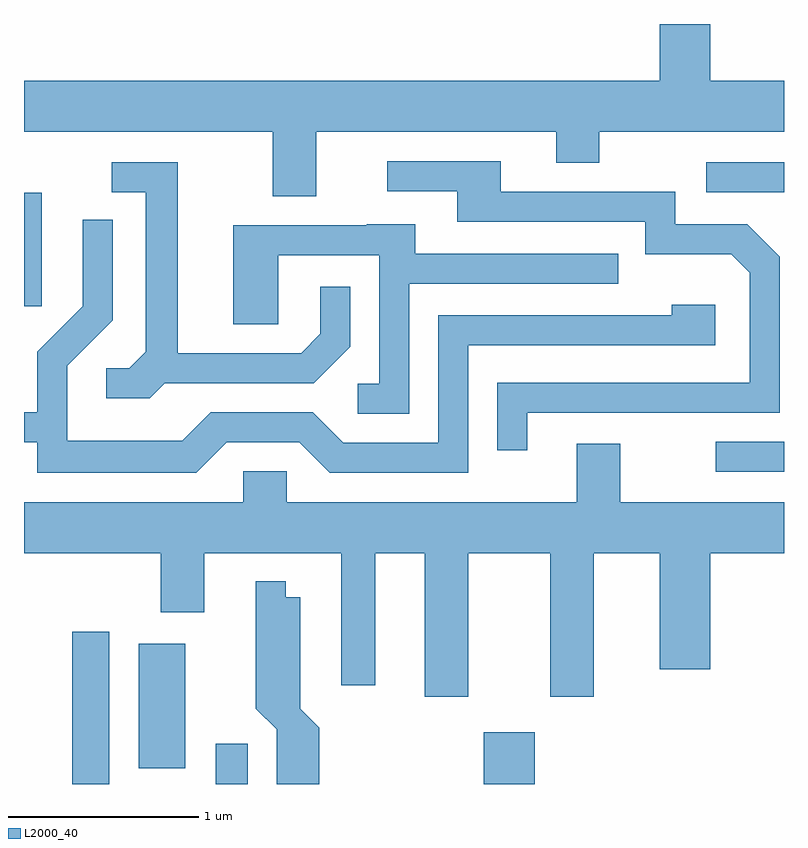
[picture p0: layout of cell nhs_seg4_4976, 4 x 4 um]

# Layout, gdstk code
import gdstk
lib = gdstk.Library(unit=1e-6, precision=1e-09)
def R(c, l, rs):  # rectangles x0, y0, x1, y1
    for r in rs: c.add(gdstk.rectangle(r[:2], r[2:], *l))
def P(c, l, *ps):  # polygons
    for p in ps: c.add(gdstk.Polygon(p, *l))
L2000_40 = (2000, 40)

nhs_seg4_4976 = lib.new_cell('nhs_seg4_4976')
R(nhs_seg4_4976, L2000_40, [(331.866,1277.982,332.059,1278.784), (332.621,1277.982,332.789,1278.193), (334.031,1277.982,334.299,1278.254), (332.216,1278.066,332.459,1278.719), (335.253,1279.626,335.611,1279.784), (331.611,1280.496,331.704,1281.094), (335.203,1281.096,335.611,1281.254)])
P(nhs_seg4_4976, L2000_40, [(333.149,1281.416),(334.411,1281.416),(334.411,1281.251),(334.639,1281.251),(334.639,1281.416),(335.611,1281.416),(335.611,1281.684),(335.224,1281.684),(335.224,1281.982),(334.956,1281.982),(334.956,1281.684),(331.611,1281.684),(331.611,1281.416),(332.921,1281.416),(332.921,1281.076),(333.149,1281.076)],
  [(334.259,1279.936),(335.589,1279.936),(335.589,1280.757),(335.417,1280.929),(335.039,1280.929),(335.039,1281.099),(334.119,1281.099),(334.119,1281.259),(333.523,1281.259),(333.523,1281.101),(333.891,1281.101),(333.891,1280.941),(334.881,1280.941),(334.881,1280.771),(335.334,1280.771),(335.431,1280.674),(335.431,1280.094),(334.101,1280.094),(334.101,1279.738),(334.259,1279.738)],
  [(332.352,1280.091),(333.137,1280.091),(333.329,1280.284),(333.329,1280.598),(333.171,1280.598),(333.171,1280.352),(333.069,1280.249),(332.419,1280.249),(332.419,1281.254),(332.073,1281.254),(332.073,1281.096),(332.251,1281.096),(332.251,1280.257),(332.164,1280.169),(332.043,1280.169),(332.043,1280.011),(332.272,1280.011)],
  [(332.677,1279.781),(333.059,1279.781),(333.219,1279.621),(333.949,1279.621),(333.949,1280.291),(335.249,1280.291),(335.249,1280.504),(335.021,1280.504),(335.021,1280.449),(333.791,1280.449),(333.791,1279.779),(333.292,1279.779),(333.132,1279.939),(332.594,1279.939),(332.444,1279.789),(331.839,1279.789),(331.839,1280.184),(332.079,1280.424),(332.079,1280.953),(331.921,1280.953),(331.921,1280.497),(331.681,1280.257),(331.681,1279.939),(331.611,1279.939),(331.611,1279.781),(331.681,1279.781),(331.681,1279.621),(332.517,1279.621)],
  [(333.639,1280.616),(334.738,1280.616),(334.738,1280.774),(333.669,1280.774),(333.669,1280.929),(333.415,1280.929),(333.415,1280.924),(332.711,1280.924),(332.711,1280.401),(332.949,1280.401),(332.949,1280.766),(333.481,1280.766),(333.481,1280.089),(333.368,1280.089),(333.368,1279.931),(333.639,1279.931)],
  [(333.949,1279.196),(334.381,1279.196),(334.381,1278.441),(334.609,1278.441),(334.609,1279.196),(334.956,1279.196),(334.956,1278.586),(335.224,1278.586),(335.224,1279.196),(335.611,1279.196),(335.611,1279.464),(334.749,1279.464),(334.749,1279.774),(334.521,1279.774),(334.521,1279.464),(332.994,1279.464),(332.994,1279.629),(332.766,1279.629),(332.766,1279.464),(331.611,1279.464),(331.611,1279.196),(332.331,1279.196),(332.331,1278.886),(332.559,1278.886),(332.559,1279.196),(333.281,1279.196),(333.281,1278.501),(333.459,1278.501),(333.459,1279.196),(333.721,1279.196),(333.721,1278.441),(333.949,1278.441)],
  [(333.164,1278.277),(333.064,1278.377),(333.064,1278.964),(332.989,1278.964),(332.989,1279.048),(332.831,1279.048),(332.831,1278.379),(332.941,1278.269),(332.941,1277.982),(333.164,1277.982)])

lib.write_gds('nhs_seg4_4976.gds')
